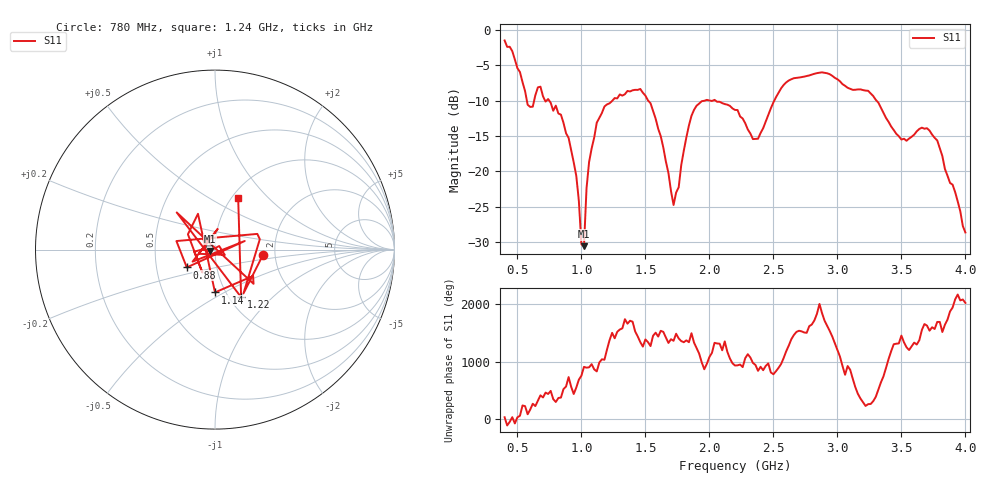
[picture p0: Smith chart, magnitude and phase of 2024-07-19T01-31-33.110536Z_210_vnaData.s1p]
!Created with skrf (http://scikit-rf.org).
# Hz S RI R 50.0
!freq ReS11 ImS11
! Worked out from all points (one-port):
!   181 points, 400 MHz to 4 GHz, reference 50 ohm
!   lowest |S11| = -30.6 dB at 1.02 GHz (marker M1), VSWR 1.06, Z = 47.2 - j0.668 ohm
!   |S11| at or under -10 dB: 748.3 MHz to 1.243 GHz (494.5 MHz wide, 49.7 % of centre); 2.047 GHz to 2.507 GHz (459.8 MHz wide, 20.2 % of centre); 3.305 GHz to end of sweep (the widest 3 of 7)
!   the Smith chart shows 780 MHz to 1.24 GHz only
!   S11 on the Smith chart (normalised r, x): 780 MHz: 1.72, -0.12; 880 MHz: 0.72, -0.15; 1.14 GHz: 0.89, -0.45; 1.22 GHz: 1.14, -0.66; 1.24 GHz: 1.07, +0.68
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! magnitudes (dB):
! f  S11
! 400 MHz  -1.5
! 580 MHz  -10.6
! 680 MHz  -8.0
! 780 MHz  -11.4
! 860 MHz  -13.1
! 880 MHz  -14.6
! 960 MHz  -20.6
! 1 GHz  -30.3
! 1.02 GHz  -30.6
! 1.04 GHz  -22.4
! 1.06 GHz  -18.7
! 1.14 GHz  -12.4
! 1.22 GHz  -10.4
! 1.24 GHz  -10.1
! 1.3 GHz  -9.1
! 1.54 GHz  -10.4
! 1.72 GHz  -24.7
! 1.76 GHz  -22.2
! 1.84 GHz  -13.5
! 1.9 GHz  -10.7
! 2.2 GHz  -11.3
! 2.38 GHz  -15.4
! 2.66 GHz  -6.8
! 3.1 GHz  -8.3
! 3.24 GHz  -8.6
! 3.56 GHz  -15.4
! 3.78 GHz  -15.6
! 4 GHz  -28.6
